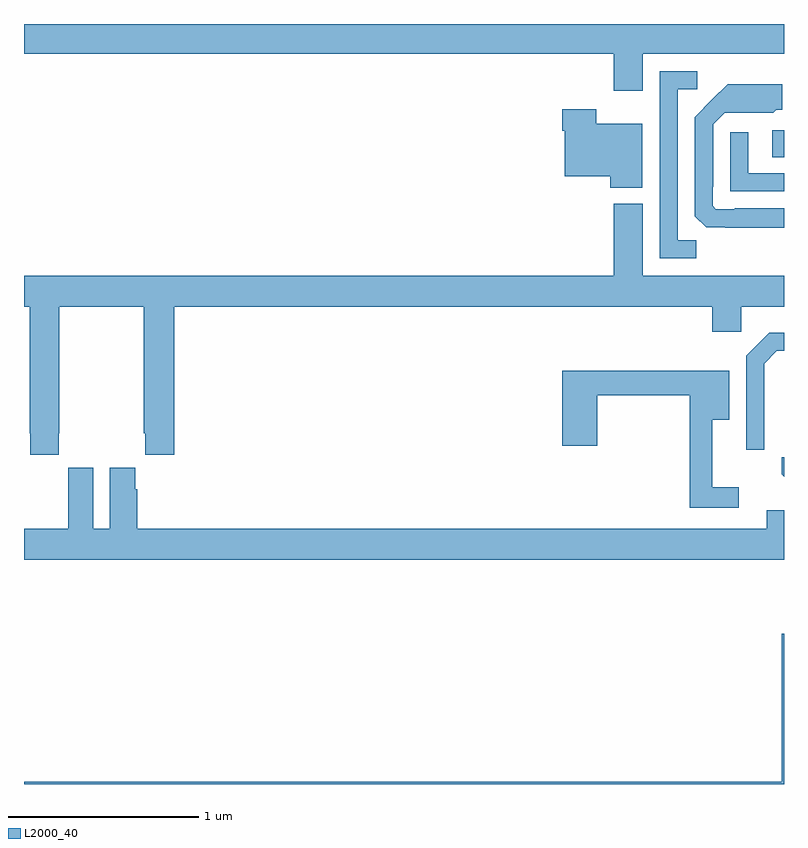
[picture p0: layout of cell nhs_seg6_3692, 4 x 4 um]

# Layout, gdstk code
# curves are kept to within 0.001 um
import gdstk
lib = gdstk.Library(unit=1e-6, precision=1e-09)
def R(c, l, rs):  # rectangles x0, y0, x1, y1
    for r in rs: c.add(gdstk.rectangle(r[:2], r[2:], *l))
def P(c, l, *ps):  # polygons
    for p in ps: c.add(gdstk.Polygon(p, *l))
L2000_40 = (2000, 40)

nhs_seg6_3692 = lib.new_cell('nhs_seg6_3692')
R(nhs_seg6_3692, L2000_40, [(330.939,938.8,331,938.94)])
P(nhs_seg6_3692, L2000_40, [(330.256,939.344),(331,939.344),(331,939.5),(327,939.5),(327,939.344),(330.104,939.344),(330.104,939.15),(330.256,939.15)],
  [(330.537,938.363),(330.441,938.363),(330.441,939.156),(330.544,939.156),(330.544,939.252),(330.345,939.252),(330.345,938.268),(330.537,938.268)],
  [(331,938.529),(330.742,938.529),(330.742,938.526),(330.642,938.526),(330.624,938.544),(330.624,938.644),(330.627,938.644),(330.627,938.973),(330.687,939.033),(330.944,939.032),(330.96,939.048),(330.991,939.048),(330.991,939.184),(330.703,939.184),(330.531,939.01),(330.531,938.488),(330.59,938.429),(331,938.428)],
  [(330.253,938.974),(330.012,938.974),(330.012,939.052),(329.834,939.052),(329.834,938.939),(329.846,938.939),(329.846,938.699),(330.086,938.699),(330.086,938.639),(330.253,938.639)],
  [(331,938.715),(330.813,938.715),(330.813,938.929),(330.717,938.929),(330.717,938.619),(331,938.619)],
  [(327.183,937.345),(327.186,937.345),(327.186,938.012),(327.631,938.012),(327.631,937.345),(327.637,937.345),(327.637,937.233),(327.791,937.233),(327.791,938.012),(330.623,938.012),(330.623,937.881),(330.774,937.881),(330.774,938.012),(331,938.012),(331,938.176),(330.256,938.176),(330.256,938.554),(330.104,938.554),(330.104,938.176),(327,938.176),(327,938.012),(327.031,938.012),(327.031,937.345),(327.033,937.345),(327.033,937.233),(327.183,937.233)],
  [(330.897,937.713),(330.963,937.779),(331,937.779),(331,937.876),(330.922,937.876),(330.801,937.755),(330.801,937.26),(330.897,937.26)],
  [(330.763,937.063),(330.623,937.063),(330.623,937.418),(330.712,937.418),(330.712,937.675),(329.834,937.675),(329.834,937.281),(330.017,937.281),(330.017,937.546),(330.505,937.546),(330.505,936.954),(330.763,936.954)],
  [(331,937.219),(330.987,937.219),(330.987,937.131),(331,937.118)],
  [(331,936.942),(330.908,936.942),(330.908,936.844),(327.596,936.844),(327.596,937.052),(327.586,937.052),(327.586,937.165),(327.452,937.165),(327.452,936.844),(327.364,936.844),(327.364,937.165),(327.234,937.165),(327.234,937.052),(327.233,937.052),(327.233,936.844),(327,936.844),(327,936.68),(331,936.68)],
  [(331,936.292),(330.989,936.292),(330.989,935.512),(327,935.512),(327,935.5),(331,935.5)])

lib.write_gds('nhs_seg6_3692.gds')
